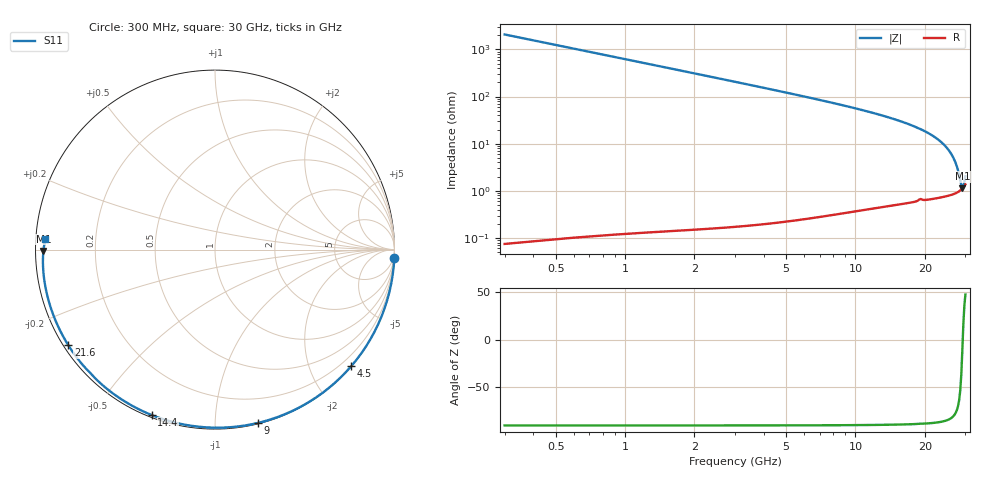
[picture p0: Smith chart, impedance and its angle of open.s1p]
! Created Thu Feb 13 09:00:33 2025
! List of port names and net name(s): example Port n = <port_name> <net_name1> <net_name2> ...
! Port 1 = P1 N__0 N__3 P1
# hz S ma R 50
! 1 Port Network Data from data block
! freq  magS11  angS11
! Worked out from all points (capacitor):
!   100 points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, 300 MHz to 30 GHz, reference 50 ohm
!   read as one part to ground: C = 255 fF near 300 MHz
!   lowest |Z| = 1.14 ohm at 29.1 GHz (marker M1)
!   series resonance near 29.21 GHz, so ESL is about 120 pH
!   S11 on the Smith chart (normalised r, x): 300 MHz: 0, -42; 4.5 GHz: 0.00, -2.71; 9 GHz: 0.01, -1.28; 14.4 GHz: 0.01, -0.69; 21.6 GHz: 0.01, -0.30; 30 GHz: 0.03, +0.03
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3e8  1 -2.8
1.2e9  1 -11.0
2.1e9  0.9998 -19.2
3e9  0.9996 -27.3
4.2e9  0.9992 -37.9
4.5e9  0.999 -40.4
5.4e9  0.9985 -48.1
6.3e9  0.9978 -55.5
6.9e9  0.9972 -60.3
7.8e9  0.9963 -67.3
9e9  0.9949 -76.2
1.02e10  0.9933 -84.7
1.08e10  0.9924 -88.7
1.17e10  0.9911 -94.6
1.29e10  0.9892 -102.1
1.44e10  0.9869 -111.0
1.53e10  0.9854 -116.0
1.71e10  0.9825 -125.5
1.8e10  0.981 -130.1
1.89e10  0.978 -134.5
2.04e10  0.9772 -141.5
2.16e10  0.9755 -147.0
2.28e10  0.9737 -152.3
2.46e10  0.9708 -160.1
2.64e10  0.9673 -167.8
2.79e10  0.9628 -174.3
2.91e10  0.9561 -179.5
3e10  0.9466 176.6
